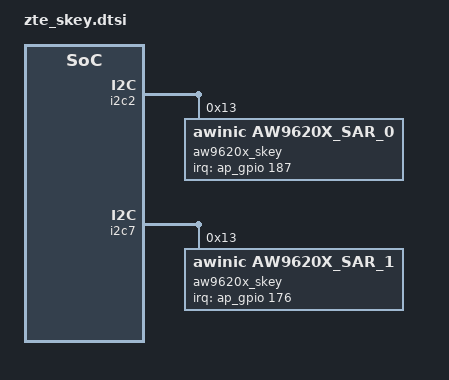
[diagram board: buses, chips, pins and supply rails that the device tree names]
&i2c2 {
	status = "okay";
	aw9620x_skey@13 {
		compatible = "awinic,aw9620x_sar_0";
		reg = <0x13>;
		sar-num = < 0 >;
		irq-gpio = <&ap_gpio 187 0>;
		chip_name = "AW96205";
		channel_use_flag = <0x01>;
		status = "okay" ;
	};
};

&i2c7 {
	status = "okay";
	aw9620x_skey@13 {
		compatible = "awinic,aw9620x_sar_1";
		reg = <0x13>;
		sar-num = < 1 >;
		irq-gpio = <&ap_gpio 176 0>;
		chip_name = "AW96205";
		channel_use_flag = <0x01>;
		status = "okay" ;
	};
};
